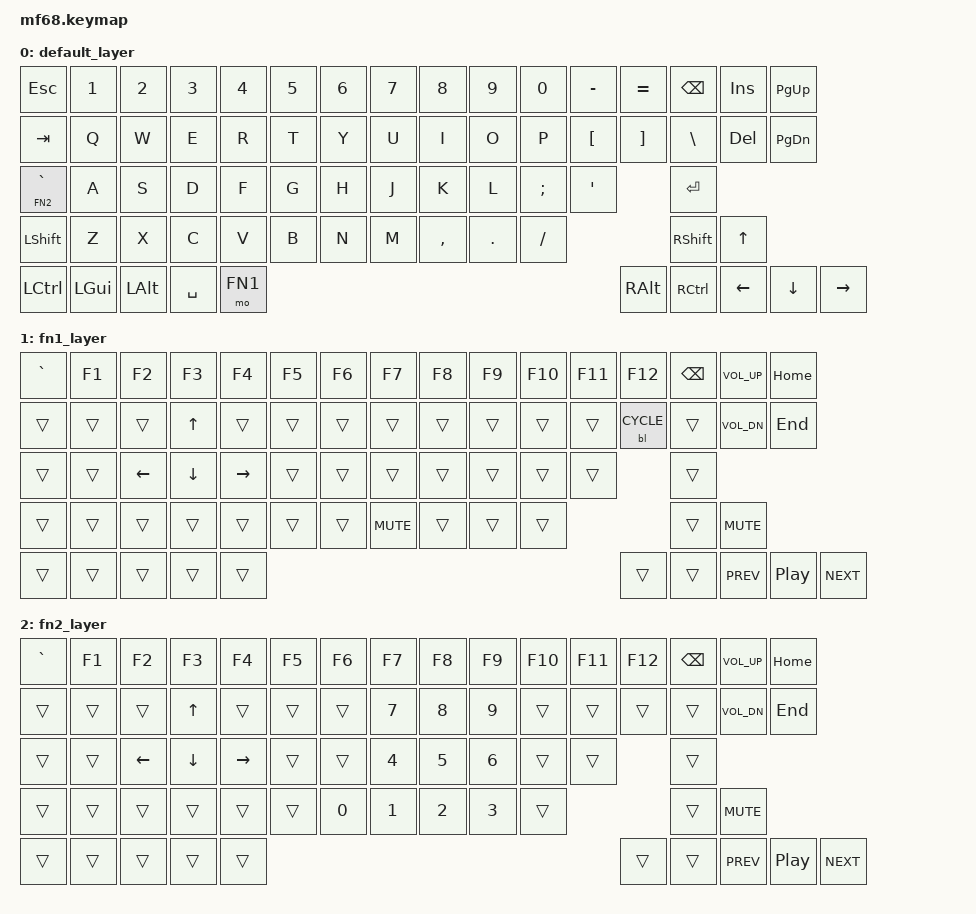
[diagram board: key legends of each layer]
/*
 * Copyright (c) 2024 will-hedges <https://github.com/will-hedges>
 * SPDX-License-Identifier: MIT
*/

#include <behaviors.dtsi>
#include <dt-bindings/zmk/keys.h>
#include <dt-bindings/zmk/backlight.h>

#define DEFAULT 0
#define FN1     1
#define FN2     2

/ {
    keymap {
        compatible = "zmk,keymap";

        default_layer {
            bindings = <
                &kp ESC        &kp N1    &kp N2    &kp N3  &kp N4  &kp N5  &kp N6     &kp N7  &kp N8     &kp N9   &kp N0    &kp MINUS  &kp EQUAL  &kp BSPC             &kp INS   &kp PG_UP
                &kp TAB        &kp Q     &kp W     &kp E   &kp R   &kp T   &kp Y      &kp U   &kp I      &kp O    &kp P     &kp LBKT   &kp RBKT   &kp BSLH             &kp DEL   &kp PG_DN
                &lt FN2 GRAVE  &kp A     &kp S     &kp D   &kp F   &kp G   &kp H      &kp J   &kp K      &kp L    &kp SEMI  &kp SQT               &kp ENTER
                &kp LSHFT      &kp Z     &kp X     &kp C   &kp V   &kp B   &kp N      &kp M   &kp COMMA  &kp DOT  &kp FSLH                        &kp RSHFT            &kp UP
                &kp LCTRL      &kp LGUI  &kp LALT                          &kp SPACE                              &mo FN1   &kp RALT   &kp RCTRL             &kp LEFT  &kp DOWN  &kp RIGHT
            >;
        };
        
        fn1_layer {
            bindings = <
                &kp GRAVE  &kp F1  &kp F2    &kp F3    &kp F4     &kp F5  &kp F6  &kp F7      &kp F8  &kp F9  &kp F10  &kp F11  &kp F12       &kp BSPC              &kp C_VOL_UP  &kp HOME
                &trans     &trans  &trans    &kp UP    &trans     &trans  &trans  &trans      &trans  &trans  &trans   &trans   &bl BL_CYCLE  &trans                &kp C_VOL_DN  &kp END
                &trans     &trans  &kp LEFT  &kp DOWN  &kp RIGHT  &trans  &trans  &trans      &trans  &trans  &trans   &trans                 &trans    
                &trans     &trans  &trans    &trans    &trans     &trans  &trans  &kp C_MUTE  &trans  &trans  &trans                          &trans                &kp C_MUTE 
                &trans     &trans  &trans                                 &trans                              &trans   &trans   &trans                  &kp C_PREV  &kp C_PP      &kp C_NEXT
            >;
        };

        fn2_layer {
            bindings = <
                &kp GRAVE  &kp F1  &kp F2    &kp F3    &kp F4     &kp F5  &kp F6  &kp F7  &kp F8  &kp F9  &kp F10  &kp F11  &kp F12  &kp BSPC              &kp C_VOL_UP  &kp HOME
                &trans     &trans  &trans    &kp UP    &trans     &trans  &trans  &kp N7  &kp N8  &kp N9  &trans   &trans   &trans   &trans                &kp C_VOL_DN  &kp END
                &trans     &trans  &kp LEFT  &kp DOWN  &kp RIGHT  &trans  &trans  &kp N4  &kp N5  &kp N6  &trans   &trans            &trans
                &trans     &trans  &trans    &trans    &trans     &trans  &kp N0  &kp N1  &kp N2  &kp N3  &trans                     &trans                &kp C_MUTE
                &trans     &trans  &trans                                 &trans                          &trans   &trans   &trans             &kp C_PREV  &kp C_PP      &kp C_NEXT
            >;
        };
    };
};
